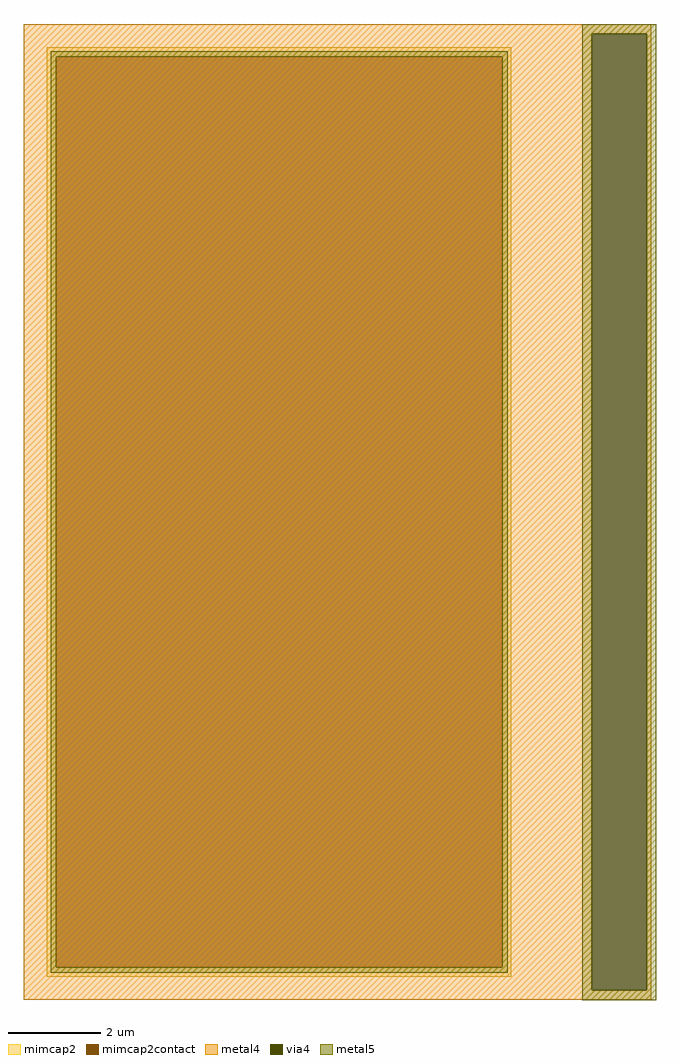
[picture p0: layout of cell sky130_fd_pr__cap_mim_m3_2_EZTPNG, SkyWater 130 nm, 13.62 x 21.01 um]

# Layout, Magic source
magic
tech sky130B
magscale 1 2
<< metal4 >>
rect -1351 2059 1351 2100
rect -1351 -2059 1095 2059
rect 1331 -2059 1351 2059
rect -1351 -2100 1351 -2059
<< via4 >>
rect 1095 -2059 1331 2059
<< mimcap2 >>
rect -1251 1960 749 2000
rect -1251 -1960 -1211 1960
rect 709 -1960 749 1960
rect -1251 -2000 749 -1960
<< mimcap2contact >>
rect -1211 -1960 709 1960
<< metal5 >>
rect 1053 2059 1373 2101
rect -1235 1960 733 1984
rect -1235 -1960 -1211 1960
rect 709 -1960 733 1960
rect -1235 -1984 733 -1960
rect 1053 -2059 1095 2059
rect 1331 -2059 1373 2059
rect 1053 -2101 1373 -2059
<< properties >>
string FIXED_BBOX -1351 -2100 849 2100
string gencell sky130_fd_pr__cap_mim_m3_2
string library sky130
string parameters w 10 l 20 val 411.4 carea 2.00 cperi 0.19 nx 1 ny 1 dummy 0 square 0 lmin 2.00 wmin 2.00 lmax 30.0 wmax 30.0 dc 0 bconnect 1 tconnect 1 ccov 100
<< end >>
